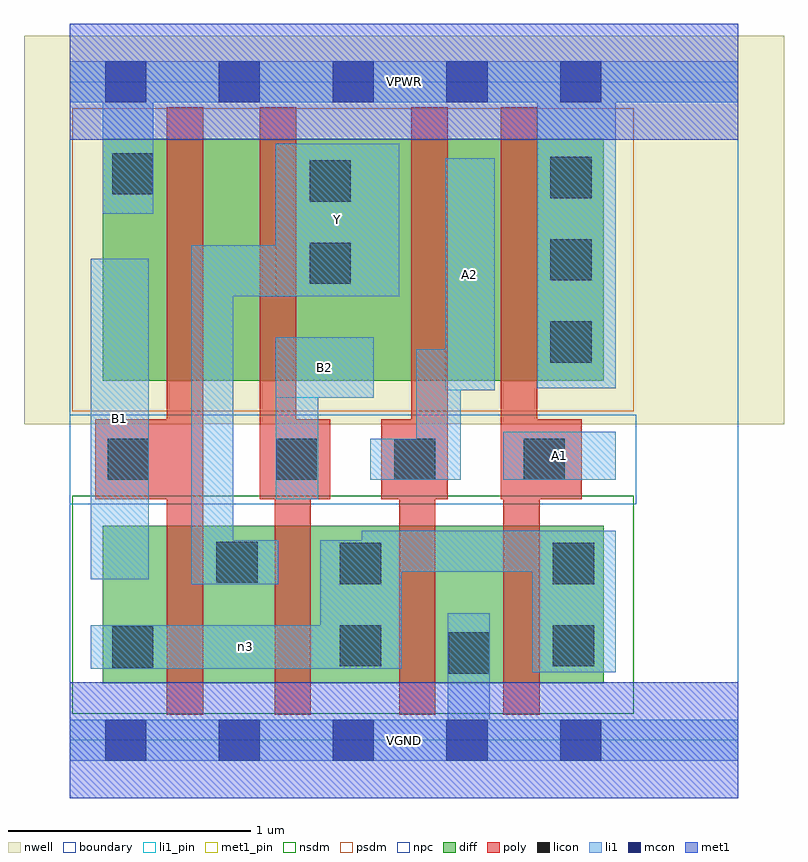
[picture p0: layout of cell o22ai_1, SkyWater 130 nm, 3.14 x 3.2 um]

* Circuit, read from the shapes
.subckt o22ai_1 A1 A2 B1 B2 VGND VPWR Y n3
XM1 Y B1 n3 VSUBS sky130_fd_pr__nfet_01v8 w=0.65 l=0.15
XM2 n3 B2 Y VSUBS sky130_fd_pr__nfet_01v8 w=0.65 l=0.15
XM3 VGND A2 n3 VSUBS sky130_fd_pr__nfet_01v8 w=0.65 l=0.15
XM4 n3 A1 VGND VSUBS sky130_fd_pr__nfet_01v8 w=0.65 l=0.15
XM5 n1 B1 VPWR n2 sky130_fd_pr__pfet_01v8 w=1 l=0.15
XM6 Y B2 n1 n2 sky130_fd_pr__pfet_01v8 w=1 l=0.15
XM7 n4 A2 Y n2 sky130_fd_pr__pfet_01v8 w=1 l=0.15
XM8 VPWR A1 n4 n2 sky130_fd_pr__pfet_01v8 w=1 l=0.15
.ends

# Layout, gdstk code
import gdstk
lib = gdstk.Library(unit=1e-6, precision=1e-09)
def R(c, l, rs):  # rectangles x0, y0, x1, y1
    for r in rs: c.add(gdstk.rectangle(r[:2], r[2:], *l))
def A(c, l, x, y, w, h, nx, ny, dx, dy):  # array of equal rectangles
    R(c, l, [(x+i*dx, y+j*dy, x+i*dx+w, y+j*dy+h) for i in range(nx) for j in range(ny)])
nwell = (64, 20)
diff = (65, 20)
poly = (66, 20)
licon = (66, 44)
li1_pin = (67, 16)
li1 = (67, 20)
mcon = (67, 44)
met1_pin = (68, 16)
met1 = (68, 20)
nsdm = (93, 44)
psdm = (94, 20)
npc = (95, 20)
boundary = (235, 4)

o22ai_1 = lib.new_cell('o22ai_1')
R(o22ai_1, nwell, [(-0.19,1.305,2.95,2.91), (0,1.305,2.76,2.91)])
R(o22ai_1, diff, [(0.135,0.235,2.205,0.885), (0.135,1.485,2.205,2.485)])
R(o22ai_1, poly, [(0.4,0.105,0.55,2.615), (0.845,0.105,0.995,1.325), (1.36,0.105,1.51,1.325), (1.79,0.105,1.94,1.325), (0.105,0.995,0.55,1.325), (0.785,0.995,0.935,2.615), (0.785,0.995,1.075,1.325), (1.285,0.995,1.56,1.325), (1.41,0.995,1.56,2.615), (1.78,0.995,1.93,2.615), (1.78,0.995,2.115,1.325)])
A(o22ai_1, licon, 1.985, 1.56, 0.17, 0.17, 1, 3, 0, 0.34)
R(o22ai_1, licon, [(1.565,0.275,1.735,0.445), (0.175,0.3,0.345,0.47), (1.115,0.305,1.285,0.475), (1.995,0.305,2.165,0.475), (1.115,0.645,1.285,0.815), (1.995,0.645,2.165,0.815), (0.605,0.65,0.775,0.82), (0.155,1.075,0.325,1.245), (0.85,1.075,1.02,1.245), (1.34,1.075,1.51,1.245), (1.875,1.075,2.045,1.245), (0.99,1.885,1.16,2.055), (0.99,2.225,1.16,2.395), (0.175,2.255,0.345,2.425)])
R(o22ai_1, li1_pin, [(0.085,0.665,0.325,1.99), (1.79,1.075,2.255,1.275), (0.85,1.415,1.255,1.665), (1.55,1.445,1.755,2.405), (0.85,1.835,1.36,2.465)])
R(o22ai_1, li1, [(0,-0.085,2.76,0.085), (1.56,-0.085,1.735,0.525), (1.91,0.28,2.255,0.865), (0.085,0.295,1.37,0.475), (1.035,0.295,1.37,0.825), (0.5,0.645,0.675,2.045), (0.5,0.645,0.86,0.825), (0.085,0.665,0.325,1.99), (1.205,0.695,2.255,0.865), (0.85,0.995,1.025,1.665), (1.24,1.075,1.615,1.245), (1.43,1.075,1.615,1.615), (1.79,1.075,2.255,1.275), (0.85,1.415,1.255,1.665), (1.55,1.445,1.755,2.405), (1.93,1.455,2.255,2.805), (0.5,1.835,1.36,2.045), (0.85,1.835,1.36,2.465), (0.135,2.175,0.345,2.805), (0,2.635,2.76,2.805)])
A(o22ai_1, mcon, 0.145, -0.085, 0.17, 0.17, 5, 2, 0.47, 2.72)
R(o22ai_1, met1_pin, [(0,-0.24,2.76,0.24), (0,2.48,2.76,2.96)])
R(o22ai_1, met1, [(0,-0.24,2.76,0.24), (0,2.48,2.76,2.96)])
R(o22ai_1, nsdm, [(0.01,0.11,2.33,1.01)])
R(o22ai_1, psdm, [(0.01,1.36,2.33,2.61)])
R(o22ai_1, npc, [(0,0.975,2.34,1.345)])
R(o22ai_1, boundary, [(0,0,2.76,2.72)])
o22ai_1.add(gdstk.Label('A1', (2.022,1.175), layer=67, texttype=5))
o22ai_1.add(gdstk.Label('A2', (1.652,1.925), layer=67, texttype=5))
o22ai_1.add(gdstk.Label('B1', (0.205,1.327), layer=67, texttype=5))
o22ai_1.add(gdstk.Label('B2', (1.052,1.54), layer=67, texttype=5))
o22ai_1.add(gdstk.Label('Y', (1.105,2.15), layer=67, texttype=5))
o22ai_1.add(gdstk.Label('n3', (0.727,0.385), layer=67, texttype=5))
o22ai_1.add(gdstk.Label('VPWR', (1.38,2.72), layer=68, texttype=5))
o22ai_1.add(gdstk.Label('VGND', (1.38,0), layer=68, texttype=5))
o22ai_1.add(gdstk.Label('A1', (2.022,1.175), layer=67, texttype=16))
o22ai_1.add(gdstk.Label('A2', (1.652,1.925), layer=67, texttype=16))
o22ai_1.add(gdstk.Label('B1', (0.205,1.327), layer=67, texttype=16))
o22ai_1.add(gdstk.Label('B2', (1.052,1.54), layer=67, texttype=16))
o22ai_1.add(gdstk.Label('Y', (1.105,2.15), layer=67, texttype=16))
o22ai_1.add(gdstk.Label('VPWR', (1.38,2.72), layer=68, texttype=16))
o22ai_1.add(gdstk.Label('VGND', (1.38,0), layer=68, texttype=16))

lib.write_gds('o22ai_1.gds')
